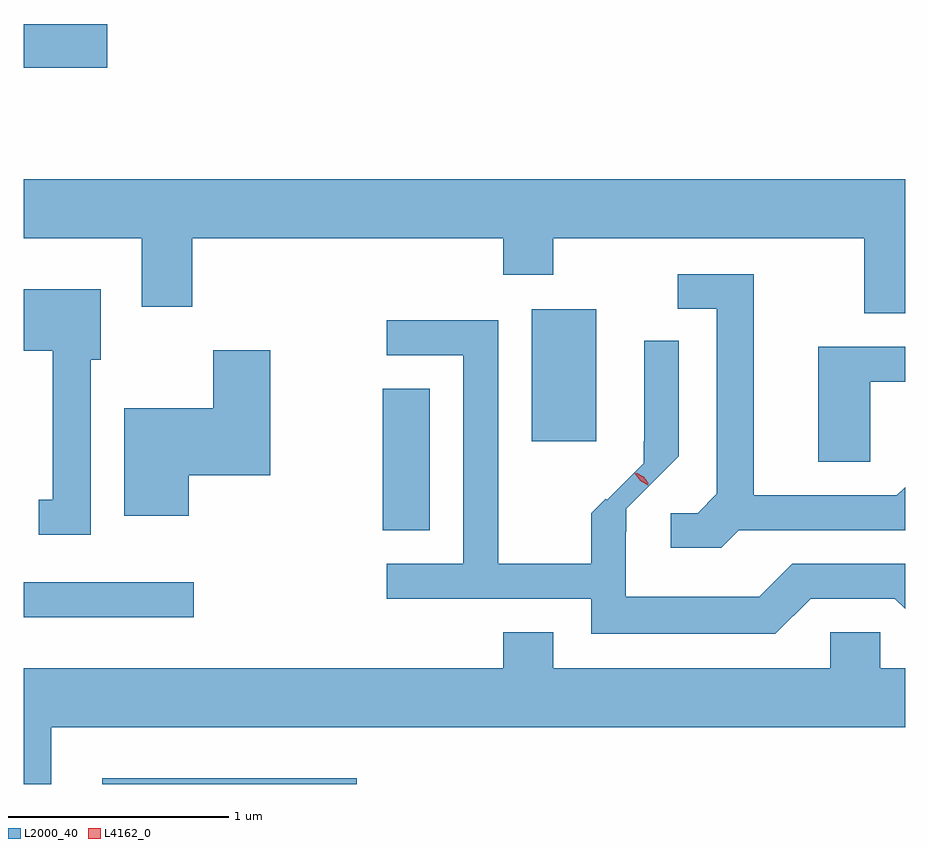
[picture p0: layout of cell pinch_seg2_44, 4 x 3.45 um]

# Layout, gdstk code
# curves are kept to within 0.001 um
import gdstk
lib = gdstk.Library(unit=1e-6, precision=1e-09)
def R(c, l, rs):  # rectangles x0, y0, x1, y1
    for r in rs: c.add(gdstk.rectangle(r[:2], r[2:], *l))
def P(c, l, *ps):  # polygons
    for p in ps: c.add(gdstk.Polygon(p, *l))
L2000_40 = (2000, 40)
L4162_0 = (4162, 0)

pinch_seg2_44 = lib.new_cell('pinch_seg2_44')
R(pinch_seg2_44, L2000_40, [(1124.591,1043.619,1125.748,1043.644), (1124.236,1044.376,1125.008,1044.534), (1125.866,1044.771,1126.079,1045.414), (1126.541,1045.176,1126.834,1045.774), (1124.236,1046.871,1124.614,1047.069)])
P(pinch_seg2_44, L2000_40, [(1128.236,1046.364),(1124.236,1046.364),(1124.236,1046.096),(1124.771,1046.096),(1124.771,1045.786),(1124.999,1045.786),(1124.999,1046.096),(1126.411,1046.096),(1126.411,1045.931),(1126.639,1045.931),(1126.639,1046.096),(1128.051,1046.096),(1128.051,1045.756),(1128.236,1045.756)],
  [(1127.482,1044.771),(1128.236,1044.771),(1128.236,1044.966),(1128.199,1044.929),(1127.549,1044.929),(1127.549,1045.934),(1127.203,1045.934),(1127.203,1045.776),(1127.381,1045.776),(1127.381,1044.937),(1127.294,1044.849),(1127.173,1044.849),(1127.173,1044.691),(1127.402,1044.691)],
  [(1124.539,1045.546),(1124.584,1045.546),(1124.584,1045.864),(1124.236,1045.864),(1124.236,1045.586),(1124.366,1045.586),(1124.366,1044.909),(1124.303,1044.909),(1124.303,1044.751),(1124.539,1044.751)],
  [(1127.807,1044.461),(1128.189,1044.461),(1128.236,1044.414),(1128.236,1044.619),(1127.724,1044.619),(1127.574,1044.469),(1126.969,1044.469),(1126.97,1044.868),(1127.209,1045.107),(1127.209,1045.632),(1127.051,1045.632),(1127.051,1045.176),(1127.049,1045.176),(1127.049,1045.075),(1126.883,1044.91),(1126.878,1044.914),(1126.811,1044.847),(1126.811,1044.619),(1126.389,1044.619),(1126.389,1045.724),(1125.883,1045.724),(1125.883,1045.566),(1126.231,1045.566),(1126.231,1044.619),(1125.883,1044.619),(1125.883,1044.461),(1126.811,1044.461),(1126.811,1044.301),(1127.647,1044.301)],
  [(1128.079,1045.446),(1128.236,1045.446),(1128.236,1045.604),(1127.841,1045.604),(1127.841,1045.081),(1128.079,1045.081)],
  [(1124.984,1045.021),(1125.354,1045.021),(1125.354,1045.589),(1125.096,1045.589),(1125.096,1045.324),(1124.691,1045.324),(1124.691,1044.836),(1124.984,1044.836)],
  [(1124.359,1043.876),(1128.236,1043.876),(1128.236,1044.144),(1128.124,1044.144),(1128.124,1044.309),(1127.896,1044.309),(1127.896,1044.144),(1126.639,1044.144),(1126.639,1044.309),(1126.411,1044.309),(1126.411,1044.144),(1124.236,1044.144),(1124.236,1043.619),(1124.359,1043.619)])
P(pinch_seg2_44, L4162_0, [(1127.072,1044.973),(1127.033,1044.995),(1127.007,1045.032),(1127.007,1045.032),(1127.007,1045.032),(1127.046,1045.01),(1127.073,1044.973),(1127.073,1044.973)],
  [(1127.072,1044.981),(1127.037,1045),(1127.015,1045.032),(1127.015,1045.033),(1127.016,1045.033),(1127.05,1045.014),(1127.072,1044.982),(1127.072,1044.981)])

lib.write_gds('pinch_seg2_44.gds')
